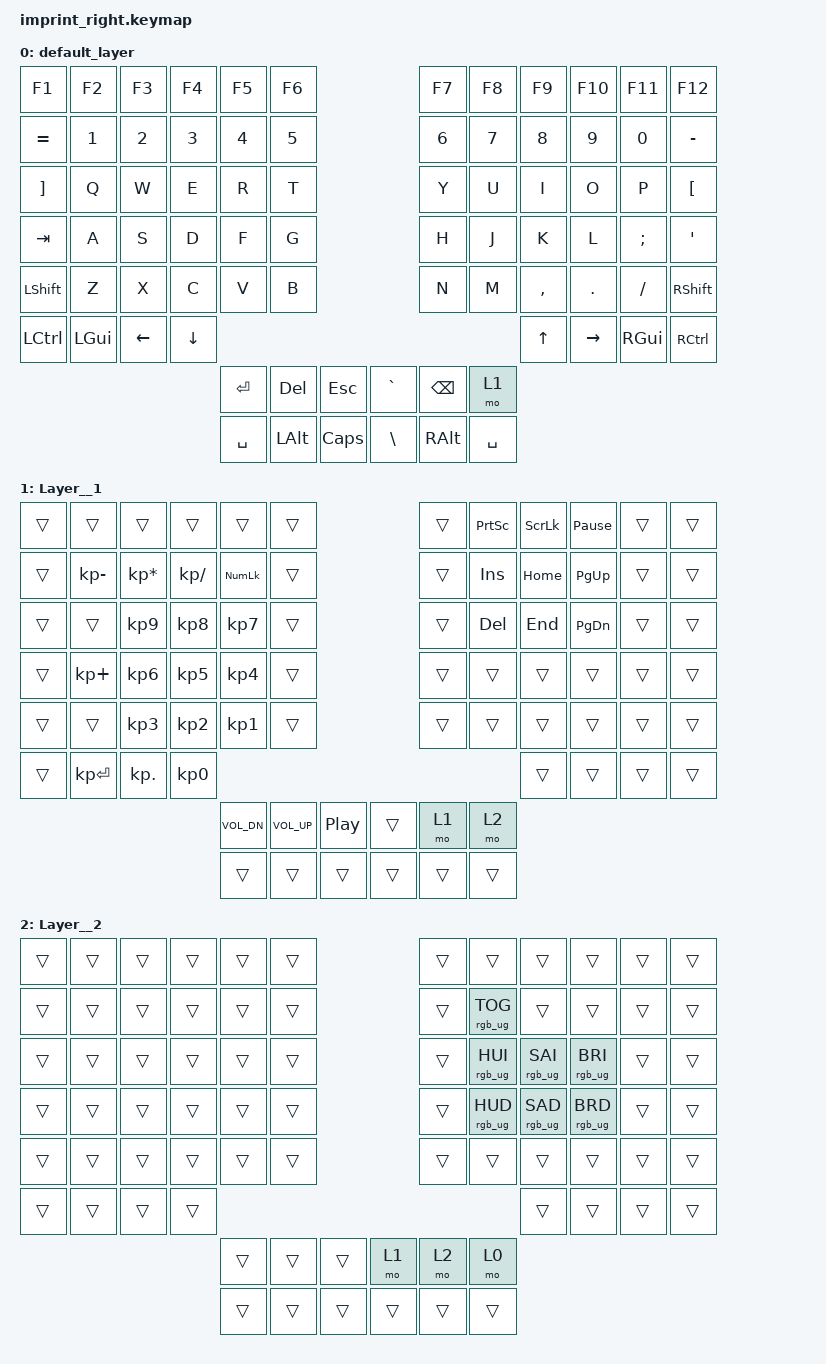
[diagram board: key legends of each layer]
#include <behaviors.dtsi>
#include <dt-bindings/zmk/bt.h>
#include <dt-bindings/zmk/keys.h>
#include <dt-bindings/zmk/outputs.h>
#include <dt-bindings/zmk/rgb.h>
#include <dt-bindings/zmk/ext_power.h>

/ {
    chosen { zmk,matrix_transform = &default_transform; };

    keymap {
        compatible = "zmk,keymap";

        default_layer {
            bindings = <
&kp F1     &kp F2    &kp F3    &kp F4    &kp F5     &kp F6                         &kp F7    &kp F8     &kp F9     &kp F10    &kp F11   &kp F12
&kp EQUAL  &kp N1    &kp N2    &kp N3    &kp N4     &kp N5                         &kp N6    &kp N7     &kp N8     &kp N9     &kp N0    &kp MINUS
&kp RBKT   &kp Q     &kp W     &kp E     &kp R      &kp T                          &kp Y     &kp U      &kp I      &kp O      &kp P     &kp LBKT
&kp TAB    &kp A     &kp S     &kp D     &kp F      &kp G                          &kp H     &kp J      &kp K      &kp L      &kp SEMI  &kp SQT
&kp LSHFT  &kp Z     &kp X     &kp C     &kp V      &kp B                          &kp N     &kp M      &kp COMMA  &kp DOT    &kp FSLH  &kp RSHFT
&kp LCTRL  &kp LGUI  &kp LEFT  &kp DOWN                                                                 &kp UP     &kp RIGHT  &kp RGUI  &kp RCTRL
                                         &kp RET    &kp DEL   &kp ESC   &kp GRAVE  &kp BSPC  &mo 1
                                         &kp SPACE  &kp LALT  &kp CAPS  &kp BSLH   &kp RALT  &kp SPACE
            >;
        };

        Layer__1 {
            bindings = <
&trans  &trans           &trans           &trans        &trans        &trans                          &trans  &kp PSCRN  &kp SLCK  &kp PAUSE_BREAK  &trans  &trans
&trans  &kp KP_SUBTRACT  &kp KP_ASTERISK  &kp KP_SLASH  &kp KP_NLCK   &trans                          &trans  &kp INS    &kp HOME  &kp PG_UP        &trans  &trans
&trans  &trans           &kp KP_N9        &kp KP_N8     &kp KP_N7     &trans                          &trans  &kp DEL    &kp END   &kp PG_DN        &trans  &trans
&trans  &kp KP_PLUS      &kp KP_N6        &kp KP_N5     &kp KP_N4     &trans                          &trans  &trans     &trans    &trans           &trans  &trans
&trans  &trans           &kp KP_N3        &kp KP_N2     &kp KP_N1     &trans                          &trans  &trans     &trans    &trans           &trans  &trans
&trans  &kp KP_ENTER     &kp KP_DOT       &kp KP_N0                                                                      &trans    &trans           &trans  &trans
                                                        &kp C_VOL_DN  &kp C_VOL_UP  &kp C_PP  &trans  &mo 1   &mo 2
                                                        &trans        &trans        &trans    &trans  &trans  &trans
            >;
        };

        Layer__2 {
            bindings = <
&trans  &trans  &trans  &trans  &trans  &trans                  &trans  &trans           &trans           &trans           &trans  &trans
&trans  &trans  &trans  &trans  &trans  &trans                  &trans  &rgb_ug RGB_TOG  &trans           &trans           &trans  &trans
&trans  &trans  &trans  &trans  &trans  &trans                  &trans  &rgb_ug RGB_HUI  &rgb_ug RGB_SAI  &rgb_ug RGB_BRI  &trans  &trans
&trans  &trans  &trans  &trans  &trans  &trans                  &trans  &rgb_ug RGB_HUD  &rgb_ug RGB_SAD  &rgb_ug RGB_BRD  &trans  &trans
&trans  &trans  &trans  &trans  &trans  &trans                  &trans  &trans           &trans           &trans           &trans  &trans
&trans  &trans  &trans  &trans                                                           &trans           &trans           &trans  &trans
                                &trans  &trans  &trans  &mo 1   &mo 2   &mo 0
                                &trans  &trans  &trans  &trans  &trans  &trans
            >;
        };
    };
};
